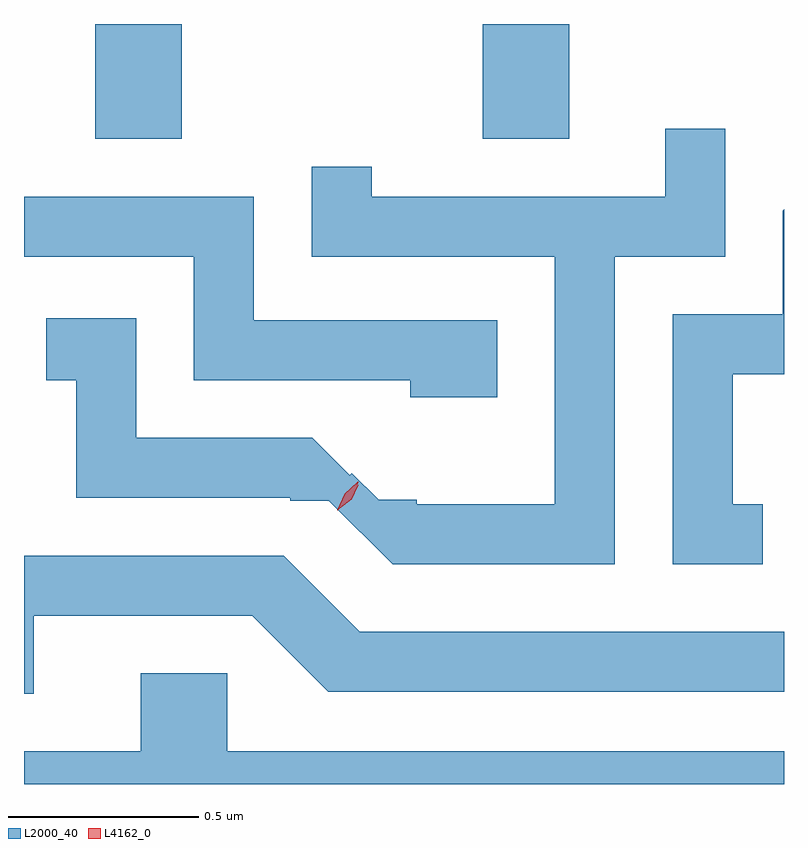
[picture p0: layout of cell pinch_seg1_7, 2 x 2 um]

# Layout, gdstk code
import gdstk
lib = gdstk.Library(unit=1e-6, precision=1e-09)
def R(c, l, rs):  # rectangles x0, y0, x1, y1
    for r in rs: c.add(gdstk.rectangle(r[:2], r[2:], *l))
def P(c, l, *ps):  # polygons
    for p in ps: c.add(gdstk.Polygon(p, *l))
L2000_40 = (2000, 40)
L4162_0 = (4162, 0)

pinch_seg1_7 = lib.new_cell('pinch_seg1_7')
R(pinch_seg1_7, L2000_40, [(1538.391,870.376,1538.619,870.678), (1539.411,870.376,1539.639,870.678)])
P(pinch_seg1_7, L2000_40, [(1539.759,870.066),(1540.049,870.066),(1540.049,870.403),(1539.891,870.403),(1539.891,870.224),(1539.119,870.224),(1539.119,870.303),(1538.961,870.303),(1538.961,870.066),(1539.601,870.066),(1539.601,869.414),(1539.237,869.414),(1539.237,869.426),(1539.137,869.426),(1539.066,869.496),(1539.061,869.491),(1538.963,869.589),(1538.499,869.589),(1538.499,869.904),(1538.263,869.904),(1538.263,869.741),(1538.341,869.741),(1538.341,869.431),(1538.905,869.431),(1538.905,869.424),(1539.006,869.424),(1539.174,869.256),(1539.759,869.256)],
  [(1539.449,869.899),(1538.809,869.899),(1538.809,870.224),(1538.204,870.224),(1538.204,870.066),(1538.651,870.066),(1538.651,869.741),(1539.221,869.741),(1539.221,869.696),(1539.449,869.696)],
  [(1540.148,869.414),(1540.069,869.414),(1540.069,869.756),(1540.204,869.756),(1540.204,870.19),(1540.201,870.187),(1540.201,869.914),(1539.911,869.914),(1539.911,869.256),(1540.148,869.256)],
  [(1538.229,869.121),(1538.804,869.121),(1539.004,868.921),(1540.204,868.921),(1540.204,869.079),(1539.087,869.079),(1538.887,869.279),(1538.204,869.279),(1538.204,868.916),(1538.229,868.916)],
  [(1540.204,868.764),(1538.739,868.764),(1538.739,868.969),(1538.511,868.969),(1538.511,868.764),(1538.204,868.764),(1538.204,868.678),(1540.204,868.678)])
P(pinch_seg1_7, L4162_0, [(1539.028,869.399),(1539.028,869.399),(1539.048,869.442),(1539.082,869.473),(1539.083,869.473),(1539.083,869.472),(1539.064,869.43),(1539.029,869.399)],
  [(1539.033,869.402),(1539.033,869.403),(1539.05,869.44),(1539.083,869.465),(1539.083,869.465),(1539.083,869.464),(1539.066,869.427),(1539.034,869.402)])

lib.write_gds('pinch_seg1_7.gds')
